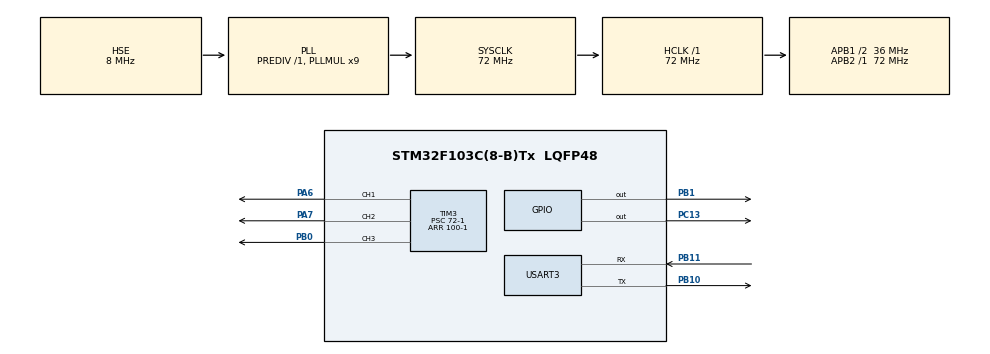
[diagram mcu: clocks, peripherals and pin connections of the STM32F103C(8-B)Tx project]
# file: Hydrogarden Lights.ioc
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Mcu.Family=STM32F1
Mcu.Name=STM32F103C(8-B)Tx
Mcu.Package=LQFP48
NVIC.PriorityGroup=NVIC_PRIORITYGROUP_4
PA13.Mode=Serial_Wire
PA13.Signal=SYS_JTMS-SWDIO
PA14.Mode=Serial_Wire
PA14.Signal=SYS_JTCK-SWCLK
PA6.Signal=S_TIM3_CH1
PA7.Signal=S_TIM3_CH2
PB0.Signal=S_TIM3_CH3
PB1.Signal=GPIO_Output
PB10.Mode=Asynchronous
PB10.Signal=USART3_TX
PB11.Mode=Asynchronous
PB11.Signal=USART3_RX
PC13-TAMPER-RTC.Signal=GPIO_Output
PD0-OSC_IN.Mode=HSE-External-Oscillator
PD0-OSC_IN.Signal=RCC_OSC_IN
PD1-OSC_OUT.Mode=HSE-External-Oscillator
PD1-OSC_OUT.Signal=RCC_OSC_OUT
ProjectManager.HeapSize=0x200
ProjectManager.StackSize=0x400
ProjectManager.TargetToolchain=STM32CubeIDE
RCC.AHBFreq_Value=72000000
RCC.APB1CLKDivider=RCC_HCLK_DIV2
RCC.APB1Freq_Value=36000000
RCC.APB1TimFreq_Value=72000000
RCC.APB2Freq_Value=72000000
RCC.APB2TimFreq_Value=72000000
RCC.HCLKFreq_Value=72000000
RCC.PLLMUL=RCC_PLL_MUL9
RCC.PLLSourceVirtual=RCC_PLLSOURCE_HSE
RCC.SYSCLKFreq_VALUE=72000000
RCC.SYSCLKSource=RCC_SYSCLKSOURCE_PLLCLK
RCC.USBFreq_Value=72000000
SH.S_TIM3_CH1.0=TIM3_CH1,PWM Generation1 CH1
SH.S_TIM3_CH2.0=TIM3_CH2,PWM Generation2 CH2
SH.S_TIM3_CH3.0=TIM3_CH3,PWM Generation3 CH3
TIM3.Channel-PWM\ Generation1\ CH1=TIM_CHANNEL_1
TIM3.Channel-PWM\ Generation2\ CH2=TIM_CHANNEL_2
TIM3.Channel-PWM\ Generation3\ CH3=TIM_CHANNEL_3
TIM3.Period=100-1
TIM3.Prescaler=72-1
USART3.VirtualMode=VM_ASYNC
board=custom

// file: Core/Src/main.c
/* USER CODE BEGIN Header */
/**
  ******************************************************************************
  * @file           : main.c
  * @brief          : Main program body
  ******************************************************************************
  * @attention
  *
  * Copyright (c) 2024 STMicroelectronics.
  * All rights reserved.
  *
  * This software is licensed under terms that can be found in the LICENSE file
  * in the root directory of this software component.
  * If no LICENSE file comes with this software, it is provided AS-IS.
  *
  ******************************************************************************
  */
/* USER CODE END Header */
#include "main.h"

/* USER CODE BEGIN Includes */

#include <stdio.h>
#include <stdlib.h>
#include <string.h>

/* USER CODE END Includes */

TIM_HandleTypeDef htim3;

UART_HandleTypeDef huart3;

/* USER CODE BEGIN PV */

uint8_t rxBuffer[100];

/* USER CODE END PV */

void SystemClock_Config(void);
static void MX_GPIO_Init(void);
static void MX_USART3_UART_Init(void);
static void MX_TIM3_Init(void);

int main(void)
{

  /* MCU Configuration--------------------------------------------------------*/

  /* Reset of all peripherals, Initializes the Flash interface and the Systick. */
  HAL_Init();

  /* Configure the system clock */
  SystemClock_Config();

  /* Initialize all configured peripherals */
  MX_GPIO_Init();
  MX_USART3_UART_Init();
  MX_TIM3_Init();
  /* USER CODE BEGIN 2 */
  // Start PWM for TIM3 Channel 1 (blue), Channel 2 (red), and Channel 3 (green)
  if (HAL_TIM_PWM_Start(&htim3, TIM_CHANNEL_1) != HAL_OK ||
      HAL_TIM_PWM_Start(&htim3, TIM_CHANNEL_2) != HAL_OK ||
      HAL_TIM_PWM_Start(&htim3, TIM_CHANNEL_3) != HAL_OK)
  {
      Error_Handler();
  }

  /* USER CODE END 2 */

  /* Infinite loop */
  /* USER CODE BEGIN WHILE */

  while (1)
  {
    int idx = 0;
	uint8_t ch;

	// Clear buffer
	memset(rxBuffer, 0, sizeof(rxBuffer));

	// Read one byte at a time until newline or buffer full
	while (HAL_UART_Receive(&huart3, &ch, 1, 1000) == HAL_OK) {
		rxBuffer[idx++] = ch;
		if(ch == '\n' || idx >= sizeof(rxBuffer) - 1) {
			break;
		}
	}
	// Null-terminate the string
	rxBuffer[idx] = '\0';

	// Remove any trailing newline/carriage return
	for (char *p = (char *)rxBuffer; *p != '\0'; p++) {
	  if (*p == '\n' || *p == '\r') {
		  *p = '\0';
		  break;
	  }
	}

	// Parse the JSON command.
	char redStr[10], greenStr[10], blueStr[10];
	int result = sscanf((char *)rxBuffer, "%[^,],%[^,],%s", redStr, greenStr, blueStr);
	if (result == 3) {
		float red = atof(redStr);
		float green = atof(greenStr);
		float blue = atof(blueStr);

		uint32_t compareRed = (uint32_t)(htim3.Init.Period * red);
		__HAL_TIM_SET_COMPARE(&htim3, TIM_CHANNEL_1, compareRed);
		uint32_t compareGreen = (uint32_t)(htim3.Init.Period * green);
	    __HAL_TIM_SET_COMPARE(&htim3, TIM_CHANNEL_2, compareGreen);
	    uint32_t compareBlue = (uint32_t)(htim3.Init.Period * blue);
	    __HAL_TIM_SET_COMPARE(&htim3, TIM_CHANNEL_3, compareBlue);
	}
    /* USER CODE END WHILE */

  }
}

void SystemClock_Config(void)
{
  RCC_OscInitTypeDef RCC_OscInitStruct = {0};
  RCC_ClkInitTypeDef RCC_ClkInitStruct = {0};

  /** Initializes the RCC Oscillators according to the specified parameters
  * in the RCC_OscInitTypeDef structure.
  */
  RCC_OscInitStruct.OscillatorType = RCC_OSCILLATORTYPE_HSE;
  RCC_OscInitStruct.HSEState = RCC_HSE_ON;
  RCC_OscInitStruct.HSEPredivValue = RCC_HSE_PREDIV_DIV1;
  RCC_OscInitStruct.HSIState = RCC_HSI_ON;
  RCC_OscInitStruct.PLL.PLLState = RCC_PLL_ON;
  RCC_OscInitStruct.PLL.PLLSource = RCC_PLLSOURCE_HSE;
  RCC_OscInitStruct.PLL.PLLMUL = RCC_PLL_MUL9;
  if (HAL_RCC_OscConfig(&RCC_OscInitStruct) != HAL_OK)
  {
    Error_Handler();
  }

  /** Initializes the CPU, AHB and APB buses clocks
  */
  RCC_ClkInitStruct.ClockType = RCC_CLOCKTYPE_HCLK|RCC_CLOCKTYPE_SYSCLK
                              |RCC_CLOCKTYPE_PCLK1|RCC_CLOCKTYPE_PCLK2;
  RCC_ClkInitStruct.SYSCLKSource = RCC_SYSCLKSOURCE_PLLCLK;
  RCC_ClkInitStruct.AHBCLKDivider = RCC_SYSCLK_DIV1;
  RCC_ClkInitStruct.APB1CLKDivider = RCC_HCLK_DIV2;
  RCC_ClkInitStruct.APB2CLKDivider = RCC_HCLK_DIV1;

  if (HAL_RCC_ClockConfig(&RCC_ClkInitStruct, FLASH_LATENCY_2) != HAL_OK)
  {
    Error_Handler();
  }
}

static void MX_TIM3_Init(void)
{

  TIM_MasterConfigTypeDef sMasterConfig = {0};
  TIM_OC_InitTypeDef sConfigOC = {0};

  htim3.Instance = TIM3;
  htim3.Init.Prescaler = 72-1;
  htim3.Init.CounterMode = TIM_COUNTERMODE_UP;
  htim3.Init.Period = 100-1;
  htim3.Init.ClockDivision = TIM_CLOCKDIVISION_DIV1;
  htim3.Init.AutoReloadPreload = TIM_AUTORELOAD_PRELOAD_DISABLE;
  if (HAL_TIM_PWM_Init(&htim3) != HAL_OK)
  {
    Error_Handler();
  }
  sMasterConfig.MasterOutputTrigger = TIM_TRGO_RESET;
  sMasterConfig.MasterSlaveMode = TIM_MASTERSLAVEMODE_DISABLE;
  if (HAL_TIMEx_MasterConfigSynchronization(&htim3, &sMasterConfig) != HAL_OK)
  {
    Error_Handler();
  }
  sConfigOC.OCMode = TIM_OCMODE_PWM1;
  sConfigOC.Pulse = 0;
  sConfigOC.OCPolarity = TIM_OCPOLARITY_HIGH;
  sConfigOC.OCFastMode = TIM_OCFAST_DISABLE;
  if (HAL_TIM_PWM_ConfigChannel(&htim3, &sConfigOC, TIM_CHANNEL_1) != HAL_OK)
  {
    Error_Handler();
  }
  if (HAL_TIM_PWM_ConfigChannel(&htim3, &sConfigOC, TIM_CHANNEL_2) != HAL_OK)
  {
    Error_Handler();
  }
  if (HAL_TIM_PWM_ConfigChannel(&htim3, &sConfigOC, TIM_CHANNEL_3) != HAL_OK)
  {
    Error_Handler();
  }
  HAL_TIM_MspPostInit(&htim3);

}

static void MX_USART3_UART_Init(void)
{

  huart3.Instance = USART3;
  huart3.Init.BaudRate = 115200;
  huart3.Init.WordLength = UART_WORDLENGTH_8B;
  huart3.Init.StopBits = UART_STOPBITS_1;
  huart3.Init.Parity = UART_PARITY_NONE;
  huart3.Init.Mode = UART_MODE_TX_RX;
  huart3.Init.HwFlowCtl = UART_HWCONTROL_NONE;
  huart3.Init.OverSampling = UART_OVERSAMPLING_16;
  if (HAL_UART_Init(&huart3) != HAL_OK)
  {
    Error_Handler();
  }

}

static void MX_GPIO_Init(void)
{
  GPIO_InitTypeDef GPIO_InitStruct = {0};

  /* GPIO Ports Clock Enable */
  __HAL_RCC_GPIOC_CLK_ENABLE();
  __HAL_RCC_GPIOD_CLK_ENABLE();
  __HAL_RCC_GPIOA_CLK_ENABLE();
  __HAL_RCC_GPIOB_CLK_ENABLE();

  /*Configure GPIO pin Output Level */
  HAL_GPIO_WritePin(GPIOC, GPIO_PIN_13, GPIO_PIN_RESET);

  /*Configure GPIO pin Output Level */
  HAL_GPIO_WritePin(GPIOB, GPIO_PIN_1, GPIO_PIN_RESET);

  /*Configure GPIO pin : PC13 */
  GPIO_InitStruct.Pin = GPIO_PIN_13;
  GPIO_InitStruct.Mode = GPIO_MODE_OUTPUT_PP;
  GPIO_InitStruct.Pull = GPIO_NOPULL;
  GPIO_InitStruct.Speed = GPIO_SPEED_FREQ_LOW;
  HAL_GPIO_Init(GPIOC, &GPIO_InitStruct);

  /*Configure GPIO pin : PB1 */
  GPIO_InitStruct.Pin = GPIO_PIN_1;
  GPIO_InitStruct.Mode = GPIO_MODE_OUTPUT_PP;
  GPIO_InitStruct.Pull = GPIO_NOPULL;
  GPIO_InitStruct.Speed = GPIO_SPEED_FREQ_LOW;
  HAL_GPIO_Init(GPIOB, &GPIO_InitStruct);

}

void Error_Handler(void)
{
  __disable_irq();
  while (1)
  {
  }
}
